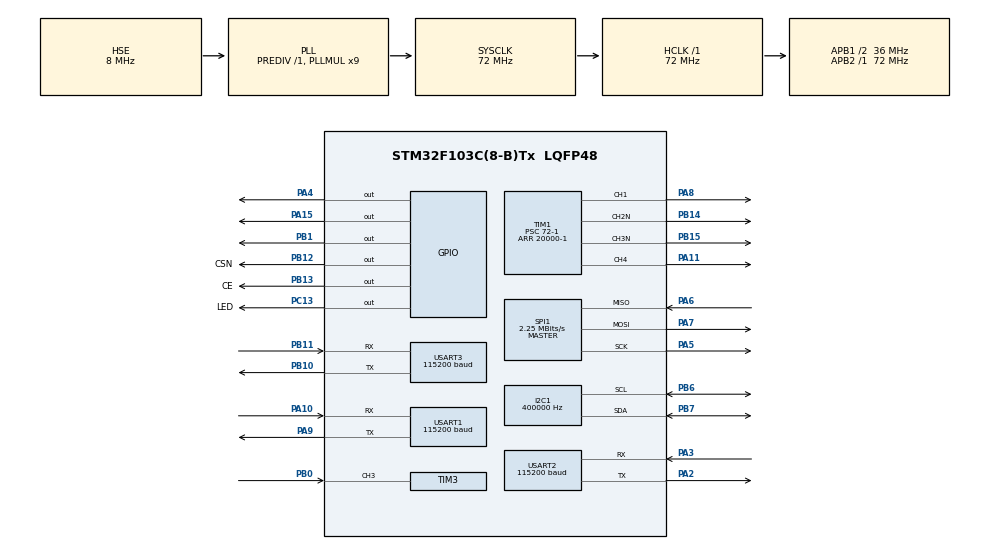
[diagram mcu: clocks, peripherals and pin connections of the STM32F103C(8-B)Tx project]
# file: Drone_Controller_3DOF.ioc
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Mcu.Family=STM32F1
NVIC.USART3_IRQn=true\:0\:0\:true\:false\:true\:true\:true
PA6.Mode=Full_Duplex_Master
SH.S_TIM1_CH4.0=TIM1_CH4,PWM Generation4 CH4
NVIC.DMA1_Channel5_IRQn=true\:0\:0\:false\:false\:true\:false\:true
Dma.USART2_TX.0.PeriphDataAlignment=DMA_PDATAALIGN_BYTE
SPI1.VirtualType=VM_MASTER
PB10.Mode=Asynchronous
USART1.BaudRate=115200
PB13.GPIO_Label=CE
PB11.Signal=USART3_RX
PB13.Signal=GPIO_Output
PB15.Signal=TIM1_CH3N
RCC.SYSCLKSource=RCC_SYSCLKSOURCE_PLLCLK
ProjectManager.StackSize=0x400
PD1-OSC_OUT.Signal=RCC_OSC_OUT
TIM3.Channel-Input_Capture3_from_TI3=TIM_CHANNEL_3
Dma.USART2_TX.0.Priority=DMA_PRIORITY_MEDIUM
TIM1.Prescaler=72-1
USART3.BaudRate=115200
I2C1.ClockSpeed=400000
TIM1.Channel-PWM\ Generation4\ CH4=TIM_CHANNEL_4
SPI1.Direction=SPI_DIRECTION_2LINES
RCC.HCLKFreq_Value=72000000
RCC.APB2TimFreq_Value=72000000
TIM3.Period=65535
PB6.Signal=I2C1_SCL
PB6.Mode=I2C
SPI1.CalculateBaudRate=2.25 MBits/s
Dma.USART1_RX.1.MemInc=DMA_MINC_ENABLE
RCC.AHBFreq_Value=72000000
Dma.USART1_RX.1.PeriphDataAlignment=DMA_PDATAALIGN_BYTE
PB3.Mode=Trace_Asynchronous_SW
RCC.PLLMUL=RCC_PLL_MUL9
PB12.GPIO_Label=CSN
TIM1.Channel-PWM\ Generation1\ CH1=TIM_CHANNEL_1
PA14.Mode=Trace_Asynchronous_SW
PB14.Mode=PWM Generation2 CH2N
TIM3.Prescaler=72-1
NVIC.TIM2_IRQn=true\:1\:0\:true\:false\:true\:true\:true
PB7.Signal=I2C1_SDA
PA8.Signal=S_TIM1_CH1
Dma.USART2_TX.0.MemDataAlignment=DMA_MDATAALIGN_BYTE
TIM4.Period=1000
Dma.USART2_TX.0.Direction=DMA_MEMORY_TO_PERIPH
Dma.USART2_TX.0.Instance=DMA1_Channel7
Dma.USART1_RX.1.Mode=DMA_CIRCULAR
Mcu.Package=LQFP48
TIM2.Prescaler=72-1
PB1.Signal=GPIO_Output
PA6.Signal=SPI1_MISO
USART2.VirtualMode=VM_ASYNC
PA10.Signal=USART1_RX
PA15.Signal=GPIO_Output
Dma.USART1_RX.1.PeriphInc=DMA_PINC_DISABLE
Dma.USART2_TX.0.Mode=DMA_NORMAL
TIM1.Channel-PWM\ Generation2\ CH2N=TIM_CHANNEL_2
Dma.Request1=USART1_RX
RCC.APB1TimFreq_Value=72000000
TIM1.Period=20000-1
Dma.USART1_RX.1.Priority=DMA_PRIORITY_HIGH
NVIC.USART1_IRQn=true\:0\:0\:false\:false\:true\:true\:true
Dma.Request0=USART2_TX
SPI1.BaudRatePrescaler=SPI_BAUDRATEPRESCALER_32
VP_TIM3_VS_ClockSourceINT.Mode=Internal
PA3.Signal=USART2_RX
PA5.Mode=Full_Duplex_Master
RCC.PLLSourceVirtual=RCC_PLLSOURCE_HSE
Dma.USART1_RX.1.Instance=DMA1_Channel5
Dma.USART1_RX.1.MemDataAlignment=DMA_MDATAALIGN_BYTE
PA7.Mode=Full_Duplex_Master
PD1-OSC_OUT.Mode=HSE-External-Oscillator
Dma.USART2_TX.0.MemInc=DMA_MINC_ENABLE
PA10.Mode=Asynchronous
PC13-TAMPER-RTC.Signal=GPIO_Output
PD0-OSC_IN.Signal=RCC_OSC_IN
RCC.APB1CLKDivider=RCC_HCLK_DIV2
SH.S_TIM3_CH3.0=TIM3_CH3,Input_Capture3_from_TI3
NVIC.USART2_IRQn=true\:0\:0\:false\:false\:true\:true\:true
USART2.BaudRate=115200
PA13.Signal=SYS_JTMS-SWDIO
PA3.Mode=Asynchronous
PA9.Mode=Asynchronous
SH.S_TIM1_CH1.0=TIM1_CH1,PWM Generation1 CH1
PB11.Mode=Asynchronous
ProjectManager.TargetToolchain=STM32CubeIDE
I2C1.I2C_Mode=I2C_Fast
PA9.Signal=USART1_TX
RCC.USBFreq_Value=72000000
TIM4.Prescaler=32000-1
TIM1.Channel-PWM\ Generation3\ CH3N=TIM_CHANNEL_3
PB10.Signal=USART3_TX
PD0-OSC_IN.Mode=HSE-External-Oscillator
PB14.Signal=TIM1_CH2N
PA5.Signal=SPI1_SCK
board=custom
PC13-TAMPER-RTC.GPIO_Label=LED
PB15.Mode=PWM Generation3 CH3N
NVIC.TIM3_IRQn=true\:0\:0\:true\:false\:true\:true\:true
RCC.APB2Freq_Value=72000000
VP_TIM2_VS_ClockSourceINT.Mode=Internal
SPI1.Mode=SPI_MODE_MASTER
TIM2.Period=5000
PA13.Mode=Trace_Asynchronous_SW
Mcu.Name=STM32F103C(8-B)Tx
PA2.Signal=USART2_TX
PB3.Signal=SYS_JTDO-TRACESWO
PA4.Signal=GPIO_Output
RCC.SYSCLKFreq_VALUE=72000000
Dma.USART2_TX.0.PeriphInc=DMA_PINC_DISABLE
USART3.VirtualMode=VM_ASYNC
USART1.VirtualMode=VM_ASYNC
PB7.Mode=I2C
PA11.Signal=S_TIM1_CH4
PA14.Signal=SYS_JTCK-SWCLK
ProjectManager.HeapSize=0x200
VP_TIM4_VS_ClockSourceINT.Mode=Internal
NVIC.PriorityGroup=NVIC_PRIORITYGROUP_4
PA2.Mode=Asynchronous
NVIC.DMA1_Channel7_IRQn=true\:0\:0\:false\:false\:true\:false\:true
Dma.USART1_RX.1.Direction=DMA_PERIPH_TO_MEMORY
RCC.APB1Freq_Value=36000000
PB0.Signal=S_TIM3_CH3
PB12.Signal=GPIO_Output
PA7.Signal=SPI1_MOSI

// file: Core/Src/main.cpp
/* USER CODE BEGIN Header */
/**
 * TO DO:
 * -Log gps velocity
 * -Decrease position controller rate
  ******************************************************************************
  * @file           : main.c
  * @brief          : Main program body
  ******************************************************************************
  * @attention
  *
  * <h2><center>&copy; Copyright (c) 2021 STMicroelectronics.
  * All rights reserved.</center></h2>
  *
  * This software component is licensed by ST under BSD 3-Clause license,
  * the "License"; You may not use this file except in compliance with the
  * License. You may obtain a copy of the License at:
  *                        opensource.org/licenses/BSD-3-Clause
  *
  ******************************************************************************
  */
/* USER CODE END Header */
#include "main.h"
#include "dma.h"
#include "i2c.h"
#include "spi.h"
#include "tim.h"
#include "usart.h"
#include "gpio.h"

/* USER CODE BEGIN Includes */

#include <main.hpp>
#include "stdio.h"
#include <string.h>
#include <math.h>
#include "coordinates.hpp"
#include "Kalman.hpp"
#include "Controller.hpp"
#include "TelemData.h"
#include "mspv2.hpp"

extern "C" {
	#include "bmp180.h"
	#include "gy-us42v2.h"
	#include "HMC5883L.h"
	#include "NMEA.h"
	#include "moving-median.h"
	#include "nrf24.h"
	#include "bno055_stm32.h"

}

#include "Modes.h"
#include "state.h"
/* USER CODE END Includes */

/* USER CODE BEGIN PM */
//MPU6050
/*
#define MPU6050 (0x68<<1)
#define MPU6050_POW_REG 0x6b
#define MPU6050_DLPF_REG 0x1a
#define GYRO_CONF_REG 0x1b
#define ACC_CONF_REG 0x1c
#define GYRO_X_ADDR 0x43
#define GYRO_Y_ADDR 0x45
#define GYRO_Z_ADDR 0x47
#define ACC_X_ADDR 0x3B
#define ACC_Y_ADDR 0x3D
#define ACC_Z_ADDR 0x3F
*/

#define BMO_DEBUG
#define MPU6050 (0x68<<1)
#define MPU6050_POW_REG 0x3e
#define MPU6050_DLPF_REG 0x1a
#define GYRO_CONF_REG 0x16
#define GYRO_X_ADDR 0x1D
#define GYRO_Y_ADDR 0x1F
#define GYRO_Z_ADDR 0x21

#define ADXL345 (0x53<<1)
#define ACC_CONF_REG 0x2c
#define ACC_X_ADDR 0x32
#define ACC_Y_ADDR 0x34
#define ACC_Z_ADDR 0x36

#define FULL_CLOCK 200
#define CNTRL_CLOCK 400
#define SONAR_CLOCK 16

#define SONAR_CLOCK_RATE 20
#define MAG_CLOCK_RATE   4
#define GPS_CLOCK_RATE   40
#define CONTROLLER_RATE  1

#define ACC_FAIL_LIM 1

#define I2C_READ 0x01

#ifndef PWM_UPPER
	#define PWM_UPPER 1800
	#define PWM_LOWER 1050
#endif

#define CH_NUM 10
#define CH0 5000
#define EMERGENCY_CH 5
#define SWARM_CH 6
#define MAGNET_CH 7
#define COIL_CH 6
#define MOD_CH 8
#define CH3_MIN 1000

/* USER CODE END PM */

/* USER CODE BEGIN PV */
//const float ACC_SCALE = 3.9/1000; //10-bit, 2g
const float ACC_SCALE = 7.8/1000; //10-bit, 4g
const float Sx = 1.0134;
const float Sy = 1.0326;
const float Sz = 1.0663;

const float bx = -0.3500;
const float by = 0.1000;
const float bz = 0.9000;

float gyroX, gyroY, gyroZ, accX, accY, accZ;
float accXc, accYc, accZc;
float accXm, accYm, accZm;
float GyroXh, GyroYh, GyroZh, AccXh, AccYh, AccZh;

//Office
//float lla0[3] = {40.4343109, 29.1589451, 10};

//Zeytinlik
//float lla0[3] = {40.4372482, 29.1656475, 10};

//Home
//float lla0[3] = {40.4352608, 29.1620464, 39.7999992};
float lla0[3], lla0_mean[3];

struct state state_des;
struct state state;
struct telem_pack telem_pack;

const float st = 0.0025;
const float deg2rad = 0.0174;
//PD Katsayilari

int IC_val1, IC_val2, pwm_input;
char buf[sizeof(telem_pack)];
Kalman_Filtresi EKF;
Controller controller;
MatekOF matek_of;

int controller_output[4];
int controller_output_2[4];

bool Is_First_Captured;
volatile int IC_Val2, IC_Val1, Diff, Diff_debug;
volatile short int i;
int ch[CH_NUM+1], ch_[CH_NUM+1], _ch[CH_NUM+1];
unsigned short int sync;
long int delay_timer, current_time, arm_timer, test_timer, disarm_timer, sent_time;
bool delay_start, arm_start, armed, motor_start, disarm_start, sonar_ready;
float baro_alt, sonar_alt, sonar_alt_, sonar_vel, sonar_vel_, sonar_acc, alt, alt_gnd, vz, baro_gnd;
unsigned int sonar_range;
unsigned short int controller_counter, sonar_counter, camera_counter, mag_counter, gps_counter;
bmp_t bmp;
float z0;
int ch_count;
bool home = false;

long controller_timer, _controller_timer, controller_timer_dif;
unsigned int home_counter;
struct cam_data cam_data;
struct cam_data cam_data_20;
struct attitude euler_angles;
unsigned long gga_time, gga_time_dif;
int16_t MAG_X, MAG_Y, MAG_Z;
int16_t MAG_X_CALIB, MAG_Y_CALIB, MAG_Z_CALIB;
bool ch_init;

uint16_t roll_des_wifi;
char roll_des_buf[sizeof(uint16_t)];

struct pwm ch_rcv;
char ch_rcv_buf[sizeof(ch_rcv)];

struct swarm_pack swarm_pack;
char swarm_rcv_buf[sizeof(swarm_pack)];

unsigned short int failsafe_counter;
bool in_failsafe;
float Fail_Acc;
uint8_t period;
bno055_vector_t v, bno_dat, bno_gyro;

typedef enum {
	POSITIVE,
	NEGATIVE,
	NEUTRAL
}sign;

typedef enum {
	NORMAL,
	SWARM
}SWARM_MODE;

typedef enum {
	start,
	stop,
	package
}TX_TYPE;

TX_TYPE tx_type = start;
SWARM_MODE swarm_mode = NORMAL;

sign yaw_sign = NEUTRAL;
uint8_t yaw_counter;
uint16_t jump_counter;
float yaw_prev;
float yaw_comp, yaw_comp_prev, yaw_unwrapped, yaw_unwrapped_prev, yaw_hit;
double yaw_threshold = 7;
int jump = 0;
int jump_count = 0;
double jump_val;

uint64_t TxpipeAddrs = 122;

uint64_t RxpipeAddrs = 122;
struct pwm pwm_out;
uint8_t gyro_conf[1];
/* USER CODE END PV */

void SystemClock_Config(void);
/* USER CODE BEGIN PFP */
void MPU6050_Baslat(void);
int16_t GyroOku (uint8_t addr);
int16_t AccOku (uint8_t addr);
float GyroErr(uint8_t addr);
float AccErr(uint8_t addr);
void TelemPack(void);
void SendTelem(void);
void PWMYaz();
float pwm2ang(unsigned short int pwm);
float pwm2rate(unsigned short int pwm);
void checkMode(int mod_ch);
void MotorBaslat(void);
void Check_Arm(void);
void Check_Disarm(void);
float square(float x);
void MagCalib(int16_t MAG_X,int16_t MAG_Y,int16_t MAG_Z);
//void GPSInit();
//void SetHome();
//void SetHome2();
void CheckFailsafe();
void CheckSwarm();
void SwitchMag();
void SwitchCoil();
float comp_filter(float angle_prev, float rate, float angle_acc, bool armed);
float unwrap_yaw(float yaw,float yaw_prev);
double unwrap_yaw2(float yaw,float yaw_prev);
float check_yaw(float yaw, float yaw_prev);
struct attitude DCM2Euler(int16_t acc[3], int16_t mag[3]);
int _write(int32_t file, uint8_t *ptr, int32_t len);
/* USER CODE END PFP */

/* USER CODE BEGIN 0 */

int __io_putchar(int ch)
{
 // Write character to ITM ch.0
 ITM_SendChar(ch);
 return(ch);
}

void Delay(long millis) {
	current_time = delay_timer;
	while(delay_timer < current_time + millis) {
		printf("Do nothing...");
	}
}

//void HAL_UART_RxCpltCallback(UART_HandleTypeDef *huart)
//{
//	if(huart->Instance == matek_of.huart_of.Instance)
//	{
//		matek_of.MatekRead2();
//	}
//}

void HAL_UART_TxCpltCallback(UART_HandleTypeDef *huart) {
	if(huart->Instance == huart2.Instance) {
		char end_char;
		switch(tx_type) {
		case start:
			end_char = 0x01;
			HAL_UART_Transmit_DMA(&huart2, (uint8_t*)&end_char, sizeof(end_char));
			tx_type = package;
			break;

		case package:
			HAL_UART_Transmit_DMA(&huart2, (uint8_t*)buf, sizeof(struct telem_pack));
			tx_type = stop;
			break;

		case stop:
			end_char = 0x04;
		    HAL_UART_Transmit_DMA(&huart2, (uint8_t*)&end_char, sizeof(end_char));
		    tx_type = start;

		    long int sent_time_ = sent_time;
		    sent_time = HAL_GetTick();
		    period = sent_time - sent_time_;
		    break;
		}

	}
}

/* USER CODE END 0 */

int main(void)
{
  /* USER CODE BEGIN 1 */
	//Delay(500);
	//HAL_Delay(1000);

  /* USER CODE END 1 */

  /* MCU Configuration--------------------------------------------------------*/

  /* Reset of all peripherals, Initializes the Flash interface and the Systick. */
  HAL_Init();

  /* USER CODE BEGIN Init */
  HAL_Delay(2000);
  /* USER CODE END Init */

  /* Configure the system clock */
  SystemClock_Config();

  /* Initialize all configured peripherals */
  MX_GPIO_Init();
  MX_DMA_Init();
  MX_I2C1_Init();
  MX_TIM2_Init();
  MX_TIM1_Init();
  MX_USART2_UART_Init();
  MX_TIM3_Init();
  MX_TIM4_Init();
  MX_USART1_UART_Init();
  MX_USART3_UART_Init();
  MX_SPI1_Init();
  /* USER CODE BEGIN 2 */

  //HAL_UART_Receive_DMA(&huart1, (uint8_t*)&cam_data, sizeof(cam_data));

  //HAL_UART_Receive_DMA(&huart2, (uint8_t*)ch_rcv_buf, 1);
  //HAL_UART_Receive_DMA(&huart1, rx_buffer, sizeof(cam_data)-1);
#ifdef BMO_DEBUG
  bno055_assignI2C(&hi2c1);
  bno055_setup();
  bno055_setOperationModeNDOF();
  //bno055_setAxisDefualt();
  bno055_axis_map_t axis = {
    .x = BNO055_AXIS_Z,
    .x_sign = BNO055_AXIS_SIGN_POSITIVE,
    .y = BNO055_AXIS_X,
    .y_sign = BNO055_AXIS_SIGN_POSITIVE,
    .z = BNO055_AXIS_Y,
    .z_sign = BNO055_AXIS_SIGN_POSITIVE
  };
  bno055_setAxisMap(axis);
#endif

#ifdef UAV1
  MPU6050_Baslat();
  bmp_init(&bmp);
  HMC5883L_initialize();
#endif
  MotorBaslat();
  //GPSInit();
  HAL_Delay(1000);
  matek_of.begin(huart1);
  matek_of.MatekRead2();
  //Ringbuf_init();

	/***********NRF Ayarlari****************/

#ifdef UAV1

	NRF24_begin(CE_GPIO_Port, CSN_Pin, CE_Pin, hspi1);
	NRF24_stopListening();
	NRF24_openWritingPipe(TxpipeAddrs);
	nrf24_DebugUART_Init(huart3);
	NRF24_setAutoAck(false);
	NRF24_setChannel(34);
	NRF24_setPayloadSize(sizeof(struct pwm));
	char test_data[] = "Testing...";
	HAL_UART_Transmit(&huart3, (uint8_t*)&test_data, sizeof(test_data), 5);
	printRadioSettings();

#endif

#ifdef UAV2
	NRF24_begin(CE_GPIO_Port, CSN_Pin, CE_Pin, hspi1);
	nrf24_DebugUART_Init(huart3);
	NRF24_setAutoAck(false);
	NRF24_setChannel(34);
	NRF24_setPayloadSize(sizeof(struct pwm));
	NRF24_openReadingPipe(1, RxpipeAddrs);
	NRF24_startListening();
	char test_data[] = "Testing...";
	HAL_UART_Transmit(&huart3, (uint8_t*)&test_data, sizeof(test_data), 5);
	printRadioSettings();
#endif

  //Gyro kalibrasyon hatalarını hesapla.
  HAL_Delay(5000);

#ifdef UAV1

  GyroXh = GyroErr(GYRO_X_ADDR); GyroYh=GyroErr(GYRO_Y_ADDR); GyroZh=GyroErr(GYRO_Z_ADDR);
  AccXh = AccErr(ACC_X_ADDR)* ACC_SCALE; AccYh = AccErr(ACC_Y_ADDR)*ACC_SCALE; AccZh = AccErr(ACC_Z_ADDR)*ACC_SCALE;

  //İvmeölçer degerlerini oku

  accX = AccOku(ACC_X_ADDR);
  accY = AccOku(ACC_Y_ADDR);
  accZ = AccOku(ACC_Z_ADDR);
#endif
  //Kontrolcü Timer'ı
  HAL_TIM_Base_Start_IT(&htim2);

  //Micros timer
  HAL_TIM_Base_Start(&htim3);

  //PWM çıkış timer'ları
  HAL_TIM_PWM_Start(&htim1, TIM_CHANNEL_1);
  HAL_TIMEx_PWMN_Start(&htim1, TIM_CHANNEL_2);
  HAL_TIMEx_PWMN_Start(&htim1, TIM_CHANNEL_3);
  HAL_TIM_PWM_Start(&htim1, TIM_CHANNEL_4);

  //PPM Input Capture Kanalları
  //HAL_TIM_IC_Start_IT(&htim3, TIM_CHANNEL_2);
  HAL_TIM_IC_Start_IT(&htim3, TIM_CHANNEL_3);

  //ESP DMA Başlat.
  char end_char = 0x01;
  HAL_UART_Transmit_DMA(&huart2, (uint8_t*)&end_char, sizeof(end_char));
  tx_type = package;
  /* USER CODE END 2 */

  /* Infinite loop */
  /* USER CODE BEGIN WHILE */

  while (1)
  {

	#ifdef UAV2
	 		bool data_healthy;

			if(NRF24_available())
			{
				char nrf_buf[sizeof(struct pwm)];
				NRF24_read(nrf_buf, sizeof(struct pwm));

				memcpy(&pwm_out, nrf_buf , sizeof(struct pwm));

				//Check if the incoming data is healthy or not.
				short unsigned int *p;
				p = &pwm_out.w1;

				data_healthy = true;

				for(int i=0; i<4; i++) {
					if(*(p+i) > 2000 || *(p+i) < 1000) {
						unsigned int val = *(p+i);
						data_healthy = false;
						break;
					}
				}

				//Give healthy datas to outputs.

				//HAL_UART_Transmit(&huart3, (uint8_t *)RxData, 32, 10);
			}

			if(data_healthy) {
				controller_output_2[0] = pwm_out.w1;
				controller_output_2[1] = pwm_out.w2;
				controller_output_2[2] = pwm_out.w3;
				controller_output_2[3] = pwm_out.w4;
				HAL_GPIO_TogglePin(LED_GPIO_Port, LED_Pin);

			}

			else {
				controller_output_2[0] = 1000;
				controller_output_2[1] = 1000;
				controller_output_2[2] = 1000;
				controller_output_2[3] = 1000;
			}

	#endif

    /* USER CODE END WHILE */

  }
}

void SystemClock_Config(void)
{
  RCC_OscInitTypeDef RCC_OscInitStruct = {0};
  RCC_ClkInitTypeDef RCC_ClkInitStruct = {0};

  /** Initializes the RCC Oscillators according to the specified parameters
  * in the RCC_OscInitTypeDef structure.
  */
  RCC_OscInitStruct.OscillatorType = RCC_OSCILLATORTYPE_HSE;
  RCC_OscInitStruct.HSEState = RCC_HSE_ON;
  RCC_OscInitStruct.HSEPredivValue = RCC_HSE_PREDIV_DIV1;
  RCC_OscInitStruct.HSIState = RCC_HSI_ON;
  RCC_OscInitStruct.PLL.PLLState = RCC_PLL_ON;
  RCC_OscInitStruct.PLL.PLLSource = RCC_PLLSOURCE_HSE;
  RCC_OscInitStruct.PLL.PLLMUL = RCC_PLL_MUL9;
  if (HAL_RCC_OscConfig(&RCC_OscInitStruct) != HAL_OK)
  {
    Error_Handler();
  }
  /** Initializes the CPU, AHB and APB buses clocks
  */
  RCC_ClkInitStruct.ClockType = RCC_CLOCKTYPE_HCLK|RCC_CLOCKTYPE_SYSCLK
                              |RCC_CLOCKTYPE_PCLK1|RCC_CLOCKTYPE_PCLK2;
  RCC_ClkInitStruct.SYSCLKSource = RCC_SYSCLKSOURCE_PLLCLK;
  RCC_ClkInitStruct.AHBCLKDivider = RCC_SYSCLK_DIV1;
  RCC_ClkInitStruct.APB1CLKDivider = RCC_HCLK_DIV2;
  RCC_ClkInitStruct.APB2CLKDivider = RCC_HCLK_DIV1;

  if (HAL_RCC_ClockConfig(&RCC_ClkInitStruct, FLASH_LATENCY_2) != HAL_OK)
  {
    Error_Handler();
  }
}

/* USER CODE BEGIN 4 */
void MPU6050_Baslat(void) {
	uint8_t config = 0x00;
	HAL_I2C_Mem_Write(&hi2c1, (uint16_t)MPU6050, MPU6050_POW_REG, 1, &config, 1, 50); //Güç registerını aktif et
	HAL_Delay(5);
	config = 0x18; //NO DLPF
	config = 0x1C; //1B 42Hz DLPF || 1C 20Hz DLPF || 1D 10Hz DLPF
	HAL_I2C_Mem_Write(&hi2c1, (uint16_t)MPU6050, GYRO_CONF_REG, 1, &config, 1, 50); //Gyro 250 d/s'ye ayarlandi.
	HAL_Delay(5);

	//HAL_I2C_Mem_Read(&hi2c1, (uint16_t)MPU6050 | I2C_READ, GYRO_CONF_REG, 1, gyro_conf, 1, 5);

	config = 0x00;
	HAL_I2C_Mem_Write(&hi2c1, (uint16_t)ADXL345, 0x2d, 1, &config, 1, 5);
	config = 0x08;
	HAL_I2C_Mem_Write(&hi2c1, (uint16_t)ADXL345, 0x2d, 1, &config, 1, 5);
	//config = 0x0D;
	//config = 0x0F; //NO DLPF
	config = 0x0B; //100 HZ LPF
	HAL_I2C_Mem_Write(&hi2c1, (uint16_t)ADXL345, 0x2c, 1, &config, 1, 5); //Acc +-8g'ye ayarlandi.
	config = 0x01; //0x01 4g, 0x00 2g,
	HAL_I2C_Mem_Write(&hi2c1, (uint16_t)ADXL345, 0x31, 1, &config, 1, 5); //Acc +-8g'ye ayarlandi.

	//config = 0x04; //0x04
	//HAL_I2C_Mem_Write(&hi2c1, (uint16_t)MPU6050, MPU6050_DLPF_REG, 1, &config, 1, 5); //Low Pass Filter 94 Hz'e ayarlandı

}

void MagCalib(int16_t MAG_X,int16_t MAG_Y,int16_t MAG_Z) {
	/*
	MAG_X_CALIB = 0.94941*MAG_X - 0.0029894*MAG_Y + 0.0042334*MAG_Z - 163.26;
	MAG_Y_CALIB = 0.94369*MAG_Y - 0.0029894*MAG_X + 0.010705*MAG_Z + 179.65;
	MAG_Z_CALIB = 0.0042334*MAG_X + 0.010705*MAG_Y + 1.1163*MAG_Z - 139.67;
	*/
	MAG_X_CALIB = 0.9655*MAG_X + 0.01389*MAG_Y - 0.01816*MAG_Z + 16.0;
	MAG_Y_CALIB = 0.01389*MAG_X + 0.9476*MAG_Y + 0.006714*MAG_Z + 103.3;
	MAG_Z_CALIB = 0.006714*MAG_Y - 0.01816*MAG_X + 1.094*MAG_Z - 8.554;
}

void checkMode(int mod_ch) {
	  if(mod_ch < 1400) {

		  controller.mod = STABILIZE;
		  controller.z0 = EKF.alt_gnd;
//		  controller.x0 = EKF.x;
//		  controller.y0 = EKF.y;
		  controller.p_alt.reset();
//		  controller.p_velx.reset();
//		  controller.p_vely.reset();
	  }

	  else if (mod_ch >=1400 && mod_ch <1700) {
		  //Run (struct state state, struct state state_des, float z_vel, float z0, float z, float ch3),
		 // controller.mod = LOITER;
		  controller.mod = ALT_HOLD;
		  z0 = controller.p_alt.zi;

	  }

	  else {
		  //controller.mod = LOITER;
		  controller.mod = STABILIZE;
	  }
}

void SwitchMag() {

	char state;

	// determine which state is the switch on
	if		(ch[MAGNET_CH-1] > 750  && ch[MAGNET_CH-1] < 1250) state = 0;
	else if (ch[MAGNET_CH-1] > 1250 && ch[MAGNET_CH-1] < 1750) state = 1;
	else if (ch[MAGNET_CH-1] > 1750 && ch[MAGNET_CH-1] < 2250) state = 2;
	else state = -1;

	// change magnet state based on state of switch
	// state = 0 -> off
	// state = 1 -> attach
	// state = 2 -> separate

	switch(state) {
	case 0:
		HAL_GPIO_WritePin(GPIOA, GPIO_PIN_4|GPIO_PIN_5, GPIO_PIN_RESET);
		break;
	case 1:
		HAL_GPIO_WritePin(GPIOA, GPIO_PIN_4, GPIO_PIN_SET);
		HAL_GPIO_WritePin(GPIOA, GPIO_PIN_5, GPIO_PIN_RESET);
		break;
	case 2:
		HAL_GPIO_WritePin(GPIOA, GPIO_PIN_4, GPIO_PIN_RESET);
		HAL_GPIO_WritePin(GPIOA, GPIO_PIN_5, GPIO_PIN_SET);
		break;
	default:
		HAL_GPIO_WritePin(GPIOA, GPIO_PIN_4|GPIO_PIN_5, GPIO_PIN_RESET);
		break;
	}
}

void SwitchCoil() {

	char state;

	// determine which state is the switch on
	if		(ch[COIL_CH-1] > 750  && ch[COIL_CH-1] < 1250) state = 0;
	else if (ch[COIL_CH-1] > 1750 && ch[COIL_CH-1] < 2250) state = 1;
	// change coil state based on state of switch
	// state = 0 -> off
	// state = 1 -> attach

	switch(state) {
	case 0:
		HAL_GPIO_WritePin(GPIOA, GPIO_PIN_4, GPIO_PIN_RESET);
		break;
	case 1:
		HAL_GPIO_WritePin(GPIOA, GPIO_PIN_4, GPIO_PIN_SET);
		break;
	default:
		HAL_GPIO_WritePin(GPIOA, GPIO_PIN_4, GPIO_PIN_RESET);
		break;
	}
}

void CheckSwarm() {
	if(ch[SWARM_CH-1] > 1500) {
		if(swarm_mode != SWARM) {
			swarm_mode = SWARM;

			controller.swarm = true;

			controller.pid_roll.reset();
			controller.pid_pitch.reset();
			controller.pid_yaw.reset();
		}
	}

	else {
		if(swarm_mode != NORMAL) {
			controller.swarm = false;
			swarm_mode = NORMAL;

			controller.pid_roll.reset();
			controller.pid_pitch.reset();
			controller.pid_yaw.reset();
		}
	}
}

void CheckFailsafe() {

	if(armed) {
		if(ch[2] < 970 && !in_failsafe) {
			in_failsafe = true;
			Fail_Acc = accXc;
		}

		if(failsafe_counter < 1000) {

			if(in_failsafe) { //5 seconds
				if(abs(accXc - Fail_Acc) < ACC_FAIL_LIM) {
					failsafe_counter++;
				}
			}
		}

		else {
			armed = false;
			in_failsafe = false;
			failsafe_counter = 0;
		}
	}

}

void Check_Arm() {
	if(!armed) {
		if((ch[2] < CH3_MIN + 100) && (ch[3] > 1700)) {
				if(!arm_start){
					arm_timer = HAL_GetTick();
					arm_start = true;
				}

				if(HAL_GetTick() - arm_timer > 3000) {
					controller.pid_roll.reset();
					controller.pid_pitch.reset();
					controller.pid_yaw.reset();
					armed = true;
					EKF.armed = true;
					GyroXh = GyroErr(GYRO_X_ADDR); GyroYh=GyroErr(GYRO_Y_ADDR); GyroZh=GyroErr(GYRO_Z_ADDR);
					//SetHome2();
					HAL_GPIO_WritePin(GPIOA, GPIO_PIN_15, GPIO_PIN_SET);

					/*
					controller.pid_roll.angle0   = EKF.state.angles[0];
					controller.pid_pitch.angle0  = EKF.state.angles[1];
					*/

				}

		}

		else {
			arm_start = false;
		}
	}

}

void Check_Disarm() {
	if(armed) {
		if((ch[2] < 1100) && (ch[3] < 1100)) {
				if(!disarm_start){
					disarm_timer = HAL_GetTick();
					disarm_start = true;
				}

				if(HAL_GetTick() - disarm_timer > 3000) {
					armed = false;
					EKF.armed = false;
					HAL_GPIO_WritePin(GPIOA, GPIO_PIN_15, GPIO_PIN_RESET);

				}

		}

		else {
			disarm_start = false;
		}
	}
}

void TelemPack() {
	  telem_pack.attitude.roll  = state.angles[0];
	  telem_pack.attitude.pitch = state.angles[1];
	  telem_pack.attitude.yaw   = state.angles[2];

	  telem_pack.pwm.w1 = controller_output[0];
	  telem_pack.pwm.w2 = controller_output[1];
	  telem_pack.pwm.w3 = controller_output[2];
	  telem_pack.pwm.w4 = controller_output[3];

	  telem_pack.attitude_des.roll  = controller.roll_des;
	  telem_pack.attitude_des.pitch = controller.pitch_des;
	  telem_pack.attitude_des.yaw   = controller.yaw_rate_des;

	  telem_pack.attitude_rate.roll  = state.rates[0];
	  telem_pack.attitude_rate.pitch = state.rates[1];
	  telem_pack.attitude_rate.yaw 	 = state.rates[2];

	  telem_pack.attitude_rate_des.roll =  state_des.rates[0];
	  telem_pack.attitude_rate_des.pitch = state_des.rates[1];

	  float rad2deg = 180/M_PI;
	  telem_pack.ekf.roll_acc  = EKF.roll_acc*rad2deg;
	  telem_pack.ekf.pitch_acc = EKF.pitch_acc*rad2deg;
	  telem_pack.ekf.yaw_acc   = yaw_unwrapped;

	  telem_pack.ekf.roll_gyro  = EKF.gyro[0];
	  telem_pack.ekf.pitch_gyro = EKF.gyro[1];
	  telem_pack.ekf.yaw_gyro   = EKF.gyro[2];

	  telem_pack.ekf.roll_comp =  yaw_comp;
	  telem_pack.ekf.pitch_comp = EKF.pitch_comp;

	  telem_pack.ekf.roll_ekf =  EKF.roll_ekf;
	  telem_pack.ekf.pitch_ekf = EKF.pitch_ekf;

	  telem_pack.pid_roll.P = controller.pid_roll.P;
	  telem_pack.pid_roll.I = controller.pid_roll.I;
	  telem_pack.pid_roll.D = controller.pid_roll.D;
	  telem_pack.pid_roll.pd_roll_sat_buf = controller.pid_roll.pd_roll_sat_buf;

	  telem_pack.pid_pitch.P = controller.pid_pitch.P;
	  telem_pack.pid_pitch.I = controller.pid_pitch.I;
	  telem_pack.pid_pitch.D = controller.pid_pitch.D;
	  telem_pack.pid_pitch.pd_roll_sat_buf = controller.pid_pitch.pd_roll_sat_buf;

	  telem_pack.p_yaw.P = controller.pid_yaw.P;
	  telem_pack.p_yaw.D = controller.pid_yaw.D;
	  telem_pack.p_yaw.I = controller.pid_yaw.I;
	  telem_pack.p_yaw.pd_roll_sat_buf = controller.pid_yaw.pd_roll_sat_buf;

	  telem_pack.sonar_alt = EKF.roll_bias;
	  telem_pack.velocity_body.z = controller.angle_ff_roll;
	  telem_pack.position_body.z = controller.angle_ff_pitch;

	  telem_pack.cam_data.detected = cam_data_20.detected;
	  telem_pack.cam_data.x = cam_data_20.x;
	  telem_pack.cam_data.y = cam_data_20.y;
	  telem_pack.cam_data.z_cam = cam_data_20.z_cam;

//	  telem_pack.position_body.x = EKF.x;
//	  telem_pack.velocity_body.x = EKF.vx;
//	  telem_pack.position_body.y = EKF.y;
//	  telem_pack.velocity_body.y = EKF.vy;

	  telem_pack.alt_thr = controller.alt_thr;

	  telem_pack.time_millis = HAL_GetTick();

	  telem_pack.acc.x = accXc;
	  telem_pack.acc.y = accYc;
	  telem_pack.acc.z = accZc;

	  telem_pack.mag.x = MAG_X_CALIB;
	  telem_pack.mag.y = MAG_Y_CALIB;
	  telem_pack.mag.z = MAG_Z_CALIB;

	  /*
	  telem_pack.gps.lla.x = gpsData.ggastruct.lcation.latitude;
	  telem_pack.gps.lla.y = gpsData.ggastruct.lcation.longitude;

	  telem_pack.gps.pos_body.x = EKF.xbody;
	  telem_pack.gps.pos_body.y = EKF.ybody;

	  telem_pack.gps.pos_ned.x = EKF.xned;
	  telem_pack.gps.pos_ned.y = EKF.yned;

	  telem_pack.gps.vel_body.x = EKF.vgpsx;
	  telem_pack.gps.vel_body.y = EKF.vgpsy;
	   */

	  telem_pack.ch.ch1 = (uint16_t)ch[0];
	  telem_pack.ch.ch2 = (uint16_t)ch[1];
	  telem_pack.ch.ch3 = (uint16_t)ch[2];
	  telem_pack.ch.ch4 = (uint16_t)ch[3];
	  telem_pack.ch.ch5 = (uint16_t)ch[4];
	  telem_pack.ch.ch6 = (uint16_t)ch[5];
	  telem_pack.ch.ch7 = (uint16_t)ch[6];
	  telem_pack.ch.ch8 = (uint16_t)ch[7];
	  telem_pack.ch.ch9 = (uint16_t)ch[8];
	  telem_pack.ch.ch10 = (uint16_t)ch[9];
	  telem_pack.ch.ch11 = (uint16_t)ch[10];

	  telem_pack.pwm2.w1 = controller_output_2[0];
	  telem_pack.pwm2.w2 = controller_output_2[1];
	  telem_pack.pwm2.w3 = controller_output_2[2];
	  telem_pack.pwm2.w4 = controller_output_2[3];

//	  telem_pack.S_roll.S11 = EKF.S11_roll;
//	  telem_pack.S_roll.S12 = EKF.S12_roll;
//	  telem_pack.S_roll.S13 = EKF.S13_roll;
//	  telem_pack.S_roll.S21 = EKF.S21_roll;
//	  telem_pack.S_roll.S22 = EKF.S22_roll;
//	  telem_pack.S_roll.S23 = EKF.S23_roll;
//	  telem_pack.S_roll.S31 = EKF.S31_roll;
//	  telem_pack.S_roll.S32 = EKF.S32_roll;
//	  telem_pack.S_roll.S33 = EKF.S33_roll;
//
//	  telem_pack.S_pitch.S11 = EKF.S11_pitch;
//	  telem_pack.S_pitch.S12 = EKF.S12_pitch;
//	  telem_pack.S_pitch.S13 = EKF.S13_pitch;
//	  telem_pack.S_pitch.S21 = EKF.S21_pitch;
//	  telem_pack.S_pitch.S22 = EKF.S22_pitch;
//	  telem_pack.S_pitch.S23 = EKF.S23_pitch;
//	  telem_pack.S_pitch.S31 = EKF.S31_pitch;
//	  telem_pack.S_pitch.S32 = EKF.S32_pitch;
//	  telem_pack.S_pitch.S33 = EKF.S33_pitch;
//
//	  telem_pack.S_yaw.S11 = EKF.S11_yaw;
//	  telem_pack.S_yaw.S12 = EKF.S12_yaw;
//	  telem_pack.S_yaw.S13 = EKF.S13_yaw;
//	  telem_pack.S_yaw.S21 = EKF.S21_yaw;
//	  telem_pack.S_yaw.S22 = EKF.S22_yaw;
//	  telem_pack.S_yaw.S23 = EKF.S23_yaw;
//	  telem_pack.S_yaw.S31 = EKF.S31_yaw;
//	  telem_pack.S_yaw.S32 = EKF.S32_yaw;
//	  telem_pack.S_yaw.S33 = EKF.S33_yaw;

	  telem_pack.bno_attitude.roll  = bno_dat.x;
	  telem_pack.bno_attitude.pitch = bno_dat.y;
	  telem_pack.bno_attitude.yaw   = bno_dat.z;

	  telem_pack.bno_rates.roll  = bno_gyro.x;
	  telem_pack.bno_rates.pitch = bno_gyro.y;
	  telem_pack.bno_rates.yaw   = bno_gyro.z;

	  telem_pack.of_data.quality = matek_of.of_msg_str.quality;
	  telem_pack.of_data.range = matek_of.distance;
	  telem_pack.of_data.motion_x = matek_of.of_msg_str.motion_x;
	  telem_pack.of_data.motion_y = matek_of.of_msg_str.motion_y;

	  memcpy(buf,&telem_pack,sizeof(telem_pack));
}

void SendTelem() {
	  TelemPack();
	  char end_char = 0x01;
	  HAL_UART_Transmit_DMA(&huart2, (uint8_t*)&end_char, sizeof(end_char));
	  HAL_UART_Transmit_DMA(&huart2, (uint8_t*)buf, sizeof(struct telem_pack));
	  end_char = 0x04;
	  HAL_UART_Transmit_DMA(&huart2, (uint8_t*)&end_char, sizeof(end_char));

	  sent_time = HAL_GetTick();

}

int16_t GyroOku (uint8_t addr) {
	uint8_t gyro_data[2];
	HAL_I2C_Mem_Read(&hi2c1, (uint16_t)MPU6050 | I2C_READ, addr, 1, gyro_data, 2, 1);
	int16_t gyro = gyro_data[0]<<8 | gyro_data[1];
	return gyro;
}

void GPSInit() {
	uint8_t Disable_GPGSV[11] = {0xB5, 0x62, 0x06, 0x01, 0x03, 0x00, 0xF0, 0x03, 0x00, 0xFD, 0x15};
	HAL_UART_Transmit(&huart3, (uint8_t*)Disable_GPGSV, 11, 100);
	uint8_t Set_to_5Hz[14] = {0xB5, 0x62, 0x06, 0x08, 0x06, 0x00, 0xC8, 0x00, 0x01, 0x00, 0x01, 0x00, 0xDE, 0x6A};
	HAL_UART_Transmit(&huart3, (uint8_t*)Set_to_5Hz, 14, 100);
	uint8_t Set_to_115[28] = {0xB5, 0x62, 0x06, 0x00, 0x14, 0x00, 0x01, 0x00, 0x00, 0x00, 0xD0, 0x08, 0x00, 0x00, 0x00, 0xC2, 0x01, 0x00, 0x07, 0x00, 0x03, 0x00, 0x00, 0x00, 0x00, 0x00, 0xC0, 0x7E};
	HAL_UART_Transmit(&huart3, (uint8_t*)Set_to_115, 28, 100);

    HAL_UART_Abort_IT(&huart3);

    HAL_UART_DeInit(&huart3);

    huart3.Init.BaudRate = 115200;

    if (HAL_UART_Init(&huart3) != HAL_OK) {
        Error_Handler();
    }

}

float comp_filter(float angle_prev, float rate, float angle_acc, bool armed) {
	float angle_comp;
	float st = 0.005;
	if(armed) {
		angle_comp=(rate*st+angle_prev)*0.95+angle_acc*0.05;
	}
	else {
		angle_comp=angle_acc;
	}
	return angle_comp;
}

float check_yaw(float yaw, float yaw_prev) {
	int threshold = 5e2; float st = 0.005;
	float yaw_sat;
	if(abs(yaw-yaw_prev)/st > threshold) {
		yaw_counter = 0;
		yaw_hit = yaw;
	}

	if(yaw_counter < 400) {
		yaw_sat = yaw_hit;
		yaw_counter++;
	}

	else {
		yaw_sat = yaw;
	}

	return yaw_sat;
}

float unwrap_yaw(float yaw,float yaw_prev) {
	float threshold = 180;
	float yaw_unwrapped;
	// Check if the yaw angle has crossed the discontinuity
	if (abs(yaw - yaw_prev) > threshold) {
	  // Add or subtract 2*pi to the yaw angle to bring it back into the range (-pi, pi)
	  if (yaw > yaw_prev)
		  yaw_unwrapped = yaw - 2*180;
	  else
		  yaw_unwrapped = yaw + 2*180;

	// Store the current yaw angle for the next iteration
	}
    //yaw_prev = yaw;
    return yaw_unwrapped;
}

double unwrap_yaw2(float yaw,float yaw_prev) {
double yaw_warped;

      // Check if the yaw angle has crossed the discontinuity
      if (!jump) {
          yaw_warped = yaw + jump_count*360;
          if (abs(yaw - yaw_prev) > yaw_threshold) {
                jump = 1;
                jump_val = yaw_prev;
          }
      } else {
          if (abs(yaw) > 140) {
                jump = 0;
                if (yaw > jump_val) {
                  jump_count = jump_count-1;
                } else {
                  jump_count = jump_count+1;
                }
                yaw_warped = yaw + jump_count*360;
          } else {
                yaw_warped = jump_val;
          }
      }

      return yaw_warped;
}

float pwm2ang(unsigned short int pwm) {
	int dead_zone = 5;

	int in_min  = 1000;
	int in_max  = 2000;

	/*
	int in_min  = 1160;
	int in_max  = 1850;
	*/
	int out_min = -20;
	int out_max  = 20;
	unsigned short int pwm_out;

	if(pwm > 1500 - dead_zone && pwm < 1500 + dead_zone) {
		pwm_out = 1500;
	}

	else {
		pwm_out = pwm;
	}

	return (pwm_out - in_min) * (out_max - out_min) / (in_max - in_min) + out_min;
}

float pwm2rate(unsigned short int pwm) {

	int in_min  = 1000;
	int in_max  = 2000;

	/*
	int in_min  = 1160;
	int in_max  = 1850;
	 */
	int out_min = -100;
	int out_max  = 100;

	return -1 * ((pwm - in_min) * (out_max - out_min) / (in_max - in_min) + out_min);
}

int16_t AccOku (uint8_t addr) {
	uint8_t gyro_data[2];
	HAL_I2C_Mem_Read(&hi2c1, (uint16_t)ADXL345 | I2C_READ, addr, 1, gyro_data, 2, 1);
	int16_t gyro = (gyro_data[1]<<8) | gyro_data[0];
	return gyro;
}

struct attitude DCM2Euler(int16_t acc[3], int16_t mag[3]) {
	struct attitude euler_angles;
	float rad2deg = 180.0/3.14;
	float acctop = sqrt(acc[0]*acc[0] + acc[1]*acc[1] + acc[2]*acc[2]);

//	  EKF.ekf_update = false;
//	  if((0.0078*acctop > 1-EKF.kalman_acc_thres) && (0.0078*acctop < 1+EKF.kalman_acc_thres)) {
//		  EKF.ekf_update = true;
//	  }

	//float A = (acctop*sqrt(square(acc[0]*mag[1] - acc[1]*mag[0]) + square(acc[0]*mag[2] - acc[2]*mag[0]) + square(acc[1]*mag[2] - acc[2]*mag[1])));
	//float DCM11 = (mag[0]*acc[1]*acc[1] - acc[0]*mag[1]*acc[1] + mag[0]*acc[2]*acc[2] - acc[0]*mag[2]*acc[2])/A;
	float DCM11 = (mag[0]*acc[1]*acc[1] - acc[0]*mag[1]*acc[1] + mag[0]*acc[2]*acc[2] - acc[0]*mag[2]*acc[2])/(acctop*sqrt(square(acc[0]*mag[1] - acc[1]*mag[0]) + square(acc[0]*mag[2] - acc[2]*mag[0]) + square(acc[1]*mag[2] - acc[2]*mag[1])));
	//A = sqrt(square(acc[0]*mag[1] - acc[1]*mag[0]) + square(acc[0]*mag[2] - acc[2]*mag[0]) + square(acc[1]*mag[2] - acc[2]*mag[1]));
	//float DCM21 = -(acc[1]*mag[2] - acc[2]*mag[1])/A;
	float DCM21 = -(acc[1]*mag[2] - acc[2]*mag[1])/sqrt(square(acc[0]*mag[1] - acc[1]*mag[0]) + square(acc[0]*mag[2] - acc[2]*mag[0]) + square(acc[1]*mag[2] - acc[2]*mag[1]));

	float DCM31 = -acc[0]/acctop;
	float DCM32 = -acc[1]/acctop;
	float DCM33 = -acc[2]/acctop;
	//euler_angles.pitch = rad2deg*atan2(-DCM31,x);
	float pitch = asin(-DCM31);
	float cp = cos(pitch);

	euler_angles.pitch = rad2deg*pitch;
	//pitch = asin(pitch);
	euler_angles.roll = rad2deg*atan(DCM32/DCM33);
	float yaw = rad2deg*atan2(DCM21/cp,DCM11/cp);
	//-euler_angles.yaw  = rad2deg*atan2(DCM21,DCM11);

	euler_angles.yaw = yaw;

	return euler_angles;

}

float square(float x) {
	float y = x*x;
	return y;
}

void PWMYaz() {

	/*
  if(!motor_start) {
			  MotorBaslat();
			  motor_start = true;
		  }

*/

#ifdef UAV1

		  if(armed) {

			  if(in_failsafe) {
				  __HAL_TIM_SET_COMPARE(&htim1,TIM_CHANNEL_1,1300);
				  __HAL_TIM_SET_COMPARE(&htim1,TIM_CHANNEL_2,1300);
				  __HAL_TIM_SET_COMPARE(&htim1,TIM_CHANNEL_3,1300);
				  __HAL_TIM_SET_COMPARE(&htim1,TIM_CHANNEL_4,1300);
			  }

			  else {
				  if(ch[EMERGENCY_CH-1] < 1500 && ch[3-1] > CH3_MIN + 100) {
						  __HAL_TIM_SET_COMPARE(&htim1,TIM_CHANNEL_1,controller_output[0]);
						  __HAL_TIM_SET_COMPARE(&htim1,TIM_CHANNEL_2,controller_output[1]);
						  __HAL_TIM_SET_COMPARE(&htim1,TIM_CHANNEL_3,controller_output[2]);
						  __HAL_TIM_SET_COMPARE(&htim1,TIM_CHANNEL_4,controller_output[3]);

					  }

					  else  {
						  __HAL_TIM_SET_COMPARE(&htim1,TIM_CHANNEL_1,1000);
						  __HAL_TIM_SET_COMPARE(&htim1,TIM_CHANNEL_2,1000);
						  __HAL_TIM_SET_COMPARE(&htim1,TIM_CHANNEL_3,1000);
						  __HAL_TIM_SET_COMPARE(&htim1,TIM_CHANNEL_4,1000);

					  }
				  }

			  }

		  else {
			  __HAL_TIM_SET_COMPARE(&htim1,TIM_CHANNEL_1,1000);
			  __HAL_TIM_SET_COMPARE(&htim1,TIM_CHANNEL_2,1000);
			  __HAL_TIM_SET_COMPARE(&htim1,TIM_CHANNEL_3,1000);
			  __HAL_TIM_SET_COMPARE(&htim1,TIM_CHANNEL_4,1000);
		  }

#endif

#ifdef UAV2

	  if(ch[EMERGENCY_CH-1] < 1500) {

			  __HAL_TIM_SET_COMPARE(&htim1,TIM_CHANNEL_1,controller_output_2[0]);
			  __HAL_TIM_SET_COMPARE(&htim1,TIM_CHANNEL_2,controller_output_2[1]);
			  __HAL_TIM_SET_COMPARE(&htim1,TIM_CHANNEL_3,controller_output_2[2]);
			  __HAL_TIM_SET_COMPARE(&htim1,TIM_CHANNEL_4,controller_output_2[3]);

	  }

	  else {
		  __HAL_TIM_SET_COMPARE(&htim1,TIM_CHANNEL_1,1000);
		  __HAL_TIM_SET_COMPARE(&htim1,TIM_CHANNEL_2,1000);
		  __HAL_TIM_SET_COMPARE(&htim1,TIM_CHANNEL_3,1000);
		  __HAL_TIM_SET_COMPARE(&htim1,TIM_CHANNEL_4,1000);
	  }
#endif

}

float GyroErr(uint8_t addr) {
	float GyroXh=0;
	for (int i=0; i<2000; i++)
	{
		GyroXh += (GyroOku(addr));

	} //Haberleşmeyi durdur.
	GyroXh=GyroXh/2000; //Son okunan değeri 2000'e böl.
	return GyroXh;
}

float AccErr(uint8_t addr) {
	float GyroXh=0;
	for (int i=0; i<2000; i++)
	{
		GyroXh += (AccOku(addr));

	} //Haberleşmeyi durdur.
	GyroXh=GyroXh/2000; //Son okunan değeri 2000'e böl.
	return GyroXh;
}

void MotorBaslat(void) {
	  __HAL_TIM_SET_COMPARE(&htim1,TIM_CHANNEL_1,1000);
	  __HAL_TIM_SET_COMPARE(&htim1,TIM_CHANNEL_2,1000);
	  __HAL_TIM_SET_COMPARE(&htim1,TIM_CHANNEL_3,1000);
	  __HAL_TIM_SET_COMPARE(&htim1,TIM_CHANNEL_4,1000);
	 // Delay(600);
	HAL_Delay(1000);
}

int _write(int32_t file, uint8_t *ptr, int32_t len) {
	/* Implement your write code here, this is used by puts and printf for example */
	int i = 0;
	for(i=0; i < len; i++) {
		ITM_SendChar((*ptr++));
	}
	return len;
}
/*
void SetHome() {
	home_counter++;
	if(home_counter != 11) {
		lla0_mean[0]  += gpsData.ggastruct.lcation.latitude;
		lla0_mean[1] += gpsData.ggastruct.lcation.longitude;
		lla0_mean[2] += gpsData.ggastruct.alt.altitude;
	}

	else {
		home_counter = 0;

		lla0[0] = lla0_mean[0]/10;
		lla0[1] = lla0_mean[1]/10;
		lla0[2] = lla0_mean[2]/10;

		lla0_mean[0] = 0;
		lla0_mean[1] = 0;
		lla0_mean[2] = 0;

		home = true;
	}

}

void SetHome2() {
		lla0[0] = gpsData.ggastruct.lcation.latitude;
		lla0[1] = gpsData.ggastruct.lcation.longitude;
		lla0[2] = gpsData.ggastruct.alt.altitude;

		home = true;
}
*/

//Ana Kontrolcü döngüsü
void HAL_TIM_PeriodElapsedCallback (TIM_HandleTypeDef * htim) {

	if(htim == &htim2) {
		//1.25 ms || 800 Hz
		Check_Arm();
		Check_Disarm();

		set_ucounter(SONAR_CLOCK_RATE);
		set_b_counter(12);

		controller_counter++;
		camera_counter++;
		mag_counter++;
		sonar_counter++;

#ifdef UAV1

		if(mag_counter == MAG_CLOCK_RATE) {
			mag_counter = 0;
			HMC5883L_getMagData(&MAG_X, &MAG_Y, &MAG_Z);
			MagCalib(MAG_X, MAG_Y, MAG_Z);
			int16_t mag[3];
			mag[0] = MAG_X_CALIB;
			mag[1] = MAG_Y_CALIB;
			mag[2] = MAG_Z_CALIB;

			int16_t acc[3];
			acc[0] = accX;
			acc[1] = accY;
			acc[2] = accZ;
			euler_angles = DCM2Euler(acc, mag);

		}

		if(sonar_counter == SONAR_CLOCK) {
			sonar_counter = 0;
			//matek_of.MatekRead2();
			EKF.sonar_range = matek_of.distance/1000.0;
			EKF.SonarHandle();
		}

		if(get_b_counter() == 1) {
			write_ut();
		}

		else if(get_b_counter() == 5) { //5 ms
			bmp.uncomp.temp = read_ut ();
			bmp.data.temp = get_temp (&bmp);
			write_up();
		}

		else if(get_b_counter() == 12) { //
			bmp.uncomp.press = read_up (bmp.oss);
			bmp.data.press = get_pressure (bmp);
			bmp.data.altitude = get_altitude (&bmp);
			baro_alt = bmp.data.altitude;

		}
#endif

		if(controller_counter == CONTROLLER_RATE) { //5 ms || 200 Hz
			_controller_timer = controller_timer;
			controller_timer = HAL_GetTick();
			controller_timer_dif = controller_timer-_controller_timer;
			controller_counter = 0;

#ifdef UAV1

		  gyroX = (GyroOku(GYRO_X_ADDR)- GyroXh)/14.375 ;
		  gyroY = (GyroOku(GYRO_Y_ADDR)- GyroYh)/14.375 ;
		  gyroZ = (GyroOku(GYRO_Z_ADDR)- GyroZh)/14.375 ;

#ifdef BMO_DEBUG
		  v = bno055_getVectorEuler();
		  bno_dat.x = v.y+3;
		  bno_dat.y = v.z-10;
		  bno_dat.z = v.x;

		  bno055_vector_t gv = bno055_getVectorGyroscope();
		  bno_gyro.x = -gv.y;
		  bno_gyro.y = -gv.x;
		  bno_gyro.z =  gv.z;
#endif

		  //float gyro[3];
		  EKF.gyro[0] = gyroX;
		  EKF.gyro[1] = -1*gyroY;
		  EKF.gyro[2] = gyroZ;

		  //İvmeölçer degerlerini oku

		  accX = AccOku(ACC_X_ADDR);
		  accY = AccOku(ACC_Y_ADDR);
		  accZ = AccOku(ACC_Z_ADDR);
		  matek_of.MatekRead2();

		  float g = 9.81;
		  //m/s^2
		  accXc = (float)accX* ACC_SCALE*g;
		  accYc = (float)accY* ACC_SCALE*g;
		  accZc = (float)accZ* ACC_SCALE*g;

		  accXc = Sx * (accXc - bx);
		  accYc = Sy * (accYc - by);
		  accZc = Sz * (accZc - bz);

		  accXc = EKF.accx_lpf.Run(accXc);
		  accYc = EKF.accy_lpf.Run(accYc);
		  accZc = EKF.accz_lpf.Run(accZc);

		  //float acc[3];
		  EKF.acc[0] = accXc;// - AccXh;
		  EKF.acc[1] = accYc;// - AccYh;
		  EKF.acc[2] = accZc;// - AccZh;

		  //float acctop=sqrt(accX*accX+accY*accY+accZ*accZ);		//Toplam ivme
		  //Check if healty acc

		 // pitch_acc=asin(accY/acctop)*57.324;					//İvme ölçerden hesaplanan pitch açısı

		  float roll_r  = deg2rad*EKF.state.angles[0];
		  float pitch_r = deg2rad*EKF.state.angles[1];

		  //g body components, Without * g
//		  float gx = sin(pitch_r);
//		  float gy = cos(pitch_r)*sin(roll_r);
//		  float gz = cos(roll_r)*cos(pitch_r);

//		  accXc -= gx;
//		  accYc -= gy;
//		  accZc -= gz;
//
//		  //Body to Local
//		  accXm = accXc*cos(pitch_r) - accZc*cos(roll_r)*sin(pitch_r) - accYc*sin(roll_r)*sin(pitch_r);
//		  accYm = accYc*cos(roll_r) - accZc*sin(roll_r);
//		  accZm = accZc*cos(roll_r)*cos(pitch_r) + accXc*sin(pitch_r) + accYc*cos(pitch_r)*sin(roll_r);
//
//
//		  accXm *= g; accYm *= g; accZm *= g;
//
//		  EKF.acc_vert = accZm;
//
//		  EKF.accXm = accXm;// * deg2rad*EKF.state.angles[1];
//		  EKF.accYm = accYm;
//		  EKF.acc_pos_x = accXm;
//		  EKF.acc_pos_y = -accYm;

		  EKF.sonar_alt = sonar_alt;
		  EKF.baro_alt = baro_alt;

//		  yaw_comp_prev = yaw_comp;
//		  yaw_comp = comp_filter(yaw_comp_prev, gyroZ, -1*euler_angles.yaw, EKF.armed);
//		  if(EKF.armed)
//			  yaw_unwrapped = unwrap_yaw2(yaw_comp, yaw_comp_prev);
		  EKF.yaw_acc  = -1*euler_angles.yaw;
		  float acctop=sqrt(accXc*accXc+accYc*accYc+accZc*accZc);		//Toplam ivme
		  if(acctop < (1+EKF.kalman_acc_thres) * g && acctop > (1-EKF.kalman_acc_thres) * g) {
			  if(abs(accXc) < g && abs(accYc) < g) {
				  EKF.ekf_update = true;
			  }

			  else {
				  EKF.ekf_update = false;
			  }
		  }

		  else {
			  EKF.ekf_update = false;
		  }

		  EKF.Run();

		  state.angles[0]  	  = EKF.state.angles[0];
		  state.angles[1] 	  = EKF.state.angles[1];
		  state.angles[2]     = EKF.state.angles[2];

		  state.rates[0] = EKF.state.rates[0];
		  state.rates[1] = EKF.state.rates[1];
		  state.rates[2] = EKF.state.rates[2];

		   checkMode(ch[MOD_CH-1]);

		   controller.z_vel = EKF.vz;
		   controller.z = EKF.alt_gnd;

//		   controller.vx	 = EKF.vx;
//		   controller.x     = EKF.x;
//
//		   controller.vy	 = EKF.vy;
//		   controller.y     = EKF.y;

		  controller.state = state;
		  controller.state_des = state_des;
		  controller.ch3 = ch[2];
		  controller.ch2 = ch[1];
		  controller.ch1 = ch[0];
		  controller.Run();

		  controller_output[0] = controller.controller_output_pwm[0];
		  controller_output[1] = controller.controller_output_pwm[1];
		  controller_output[2] = controller.controller_output_pwm[2];
		  controller_output[3] = controller.controller_output_pwm[3];
#endif
		#ifdef UAV1

		  if(armed) {

			  if(ch[EMERGENCY_CH-1] < 1500 && ch[3-1] > CH3_MIN + 100) {

				  controller_output_2[0] = controller.controller_output_pwm2[0];
				  controller_output_2[1] = controller.controller_output_pwm2[1];
				  controller_output_2[2] = controller.controller_output_pwm2[2];
				  controller_output_2[3] = controller.controller_output_pwm2[3];

			  }

			  else {
				  controller_output_2[0] = 1000;
				  controller_output_2[1] = 1000;
				  controller_output_2[2] = 1000;
				  controller_output_2[3] = 1000;
			  }

		  }

		  else {
			  controller_output_2[0] = 1000;
			  controller_output_2[1] = 1000;
			  controller_output_2[2] = 1000;
			  controller_output_2[3] = 1000;
		  }
		#endif

		  state_des.rates[0] = controller.roll_rate_des;
		  state_des.rates[1] = controller.pitch_rate_des;

		  TelemPack();
		  CheckFailsafe();
		  CheckSwarm();
		  PWMYaz();

		  #ifdef UAV2
		  	  SwitchCoil();
		  #endif

		#ifdef UAV1
		  	  	//Pack motor outputs to nrf24 buffer.
		  	  	char nrf_buf[sizeof(struct pwm)];
		  	  	memcpy(nrf_buf,&telem_pack.pwm2,sizeof(struct pwm));
				NRF24_write(nrf_buf, sizeof(struct pwm));
				HAL_GPIO_TogglePin(LED_GPIO_Port, LED_Pin);
		#endif

		  //SwitchMag();

		  //HAL_GPIO_TogglePin(GPIOB, GPIO_PIN_1);
		}
		}
	}

void HAL_TIM_IC_CaptureCallback(TIM_HandleTypeDef *htim)

{

 if(htim == &htim3) {

	if (htim->Channel == HAL_TIM_ACTIVE_CHANNEL_3)  // if the interrupt source is channel1
	{
				IC_Val1 = IC_Val2;
				IC_Val2 = HAL_TIM_ReadCapturedValue(htim, TIM_CHANNEL_3);  // read second value
				Diff = IC_Val2-IC_Val1;
				if(Diff < 0) {
					Diff+=65535;

				}
				//printf("Diff: %d\n",Diff);
					if(Diff >= 800 && Diff <= 2000) {
					#ifdef UAV1
						ch_[i] = ch[i];
						ch[i] = Diff;
						ch_count++;
					#endif

					#ifdef UAV2
						if(i == EMERGENCY_CH-1) {
							ch_[i] = ch[i];
							ch[EMERGENCY_CH-1] = Diff;
						}

						else if(i == COIL_CH-1) {
							ch_[i] = ch[i];
							ch[COIL_CH-1] = Diff;
						}

						ch_count++;
					#endif

					}

					else if(Diff > CH0) {
						//ch[CH_NUM] = ch[i];
						i = -1;
						ch[CH_NUM] = Diff;
						sync = 1;
					}

				state_des.angles[0] =  pwm2ang(ch[0]);
				state_des.angles[1] =  pwm2ang(ch[1]);
				state_des.angles[2] =  0;
				state_des.rates[2] = pwm2rate(ch[3]);

				i++;
				i = i % (CH_NUM+1);
			//	__HAL_TIM_SET_CAPTUREPOLARITY(htim,TIM_CHANNEL_2,TIM_INPUTCHANNELPOLARITY_RISING);

	 }
	}
}
/* USER CODE END 4 */

void Error_Handler(void)
{
  __disable_irq();
  while (1)
  {
  }
}

/************************ (C) COPYRIGHT STMicroelectronics *****END OF FILE****/
